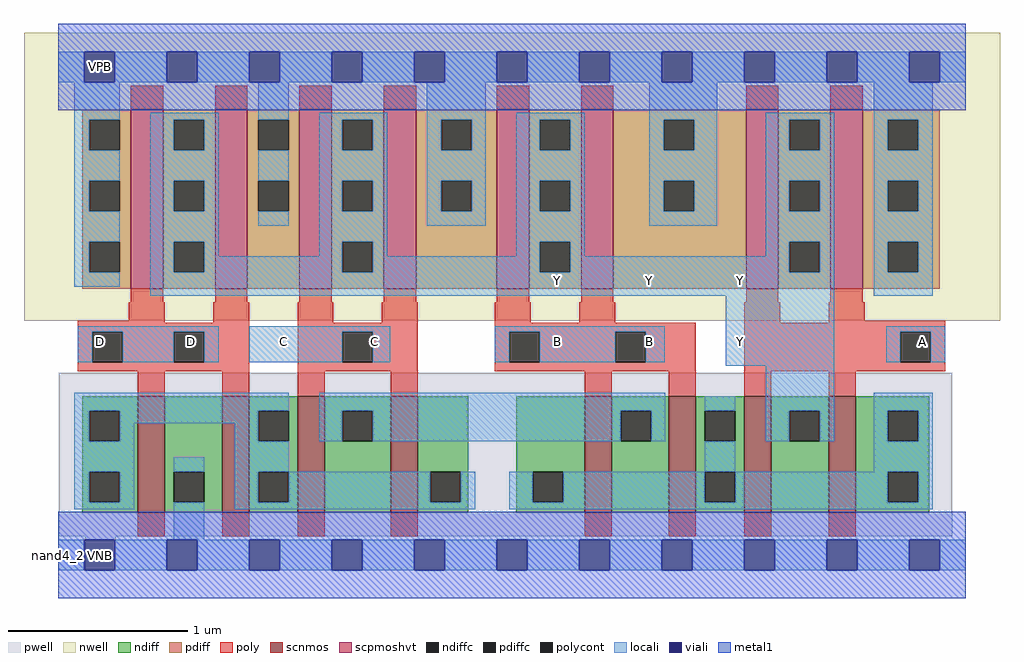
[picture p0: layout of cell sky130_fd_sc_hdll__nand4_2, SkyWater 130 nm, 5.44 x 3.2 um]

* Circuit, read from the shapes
.subckt sky130_fd_sc_hdll__nand4_2 A B C D VGND VNB VPB VPWR Y
XM1 VGND D n1 VNB sky130_fd_pr__nfet_01v8 w=0.65 l=0.15 m=2
XM2 n2 C n1 VNB sky130_fd_pr__nfet_01v8 w=0.65 l=0.15 m=2
XM3 n2 B n3 VNB sky130_fd_pr__nfet_01v8 w=0.65 l=0.15 m=2
XM4 Y A n3 VNB sky130_fd_pr__nfet_01v8 w=0.65 l=0.15 m=2
XM5 Y D VPWR VPB sky130_fd_pr__pfet_01v8_hvt w=1 l=0.18 m=2
XM6 Y C VPWR VPB sky130_fd_pr__pfet_01v8_hvt w=1 l=0.18 m=2
XM7 Y B VPWR VPB sky130_fd_pr__pfet_01v8_hvt w=1 l=0.18 m=2
XM8 Y A VPWR VPB sky130_fd_pr__pfet_01v8_hvt w=1 l=0.18 m=2
.ends

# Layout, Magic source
magic
tech sky130A
magscale 1 2
<< nwell >>
rect -38 261 1050 582
<< pwell >>
rect 1 21 997 203
rect 30 -17 64 21
<< scnmos >>
rect 89 47 119 177
rect 183 47 213 177
rect 267 47 297 177
rect 371 47 401 177
rect 587 47 617 177
rect 681 47 711 177
rect 765 47 795 177
rect 859 47 889 177
<< scpmoshvt >>
rect 81 297 117 497
rect 175 297 211 497
rect 269 297 305 497
rect 363 297 399 497
rect 489 297 525 497
rect 583 297 619 497
rect 767 297 803 497
rect 861 297 897 497
<< ndiff >>
rect 27 161 89 177
rect 27 127 35 161
rect 69 127 89 161
rect 27 93 89 127
rect 27 59 35 93
rect 69 59 89 93
rect 27 47 89 59
rect 119 93 183 177
rect 119 59 129 93
rect 163 59 183 93
rect 119 47 183 59
rect 213 161 267 177
rect 213 127 223 161
rect 257 127 267 161
rect 213 93 267 127
rect 213 59 223 93
rect 257 59 267 93
rect 213 47 267 59
rect 297 161 371 177
rect 297 127 317 161
rect 351 127 371 161
rect 297 47 371 127
rect 401 93 457 177
rect 401 59 415 93
rect 449 59 457 93
rect 401 47 457 59
rect 511 93 587 177
rect 511 59 529 93
rect 563 59 587 93
rect 511 47 587 59
rect 617 161 681 177
rect 617 127 627 161
rect 661 127 681 161
rect 617 47 681 127
rect 711 161 765 177
rect 711 127 721 161
rect 755 127 765 161
rect 711 93 765 127
rect 711 59 721 93
rect 755 59 765 93
rect 711 47 765 59
rect 795 161 859 177
rect 795 127 815 161
rect 849 127 859 161
rect 795 47 859 127
rect 889 161 971 177
rect 889 127 925 161
rect 959 127 971 161
rect 889 93 971 127
rect 889 59 925 93
rect 959 59 971 93
rect 889 47 971 59
<< pdiff >>
rect 27 485 81 497
rect 27 451 35 485
rect 69 451 81 485
rect 27 417 81 451
rect 27 383 35 417
rect 69 383 81 417
rect 27 349 81 383
rect 27 315 35 349
rect 69 315 81 349
rect 27 297 81 315
rect 117 485 175 497
rect 117 451 129 485
rect 163 451 175 485
rect 117 417 175 451
rect 117 383 129 417
rect 163 383 175 417
rect 117 349 175 383
rect 117 315 129 349
rect 163 315 175 349
rect 117 297 175 315
rect 211 485 269 497
rect 211 451 223 485
rect 257 451 269 485
rect 211 417 269 451
rect 211 383 223 417
rect 257 383 269 417
rect 211 297 269 383
rect 305 485 363 497
rect 305 451 317 485
rect 351 451 363 485
rect 305 417 363 451
rect 305 383 317 417
rect 351 383 363 417
rect 305 349 363 383
rect 305 315 317 349
rect 351 315 363 349
rect 305 297 363 315
rect 399 485 489 497
rect 399 451 427 485
rect 461 451 489 485
rect 399 417 489 451
rect 399 383 427 417
rect 461 383 489 417
rect 399 297 489 383
rect 525 485 583 497
rect 525 451 537 485
rect 571 451 583 485
rect 525 417 583 451
rect 525 383 537 417
rect 571 383 583 417
rect 525 349 583 383
rect 525 315 537 349
rect 571 315 583 349
rect 525 297 583 315
rect 619 485 767 497
rect 619 451 675 485
rect 709 451 767 485
rect 619 417 767 451
rect 619 383 675 417
rect 709 383 767 417
rect 619 297 767 383
rect 803 485 861 497
rect 803 451 815 485
rect 849 451 861 485
rect 803 417 861 451
rect 803 383 815 417
rect 849 383 861 417
rect 803 349 861 383
rect 803 315 815 349
rect 849 315 861 349
rect 803 297 861 315
rect 897 485 983 497
rect 897 451 925 485
rect 959 451 983 485
rect 897 417 983 451
rect 897 383 925 417
rect 959 383 983 417
rect 897 349 983 383
rect 897 315 925 349
rect 959 315 983 349
rect 897 297 983 315
<< ndiffc >>
rect 35 127 69 161
rect 35 59 69 93
rect 129 59 163 93
rect 223 127 257 161
rect 223 59 257 93
rect 317 127 351 161
rect 415 59 449 93
rect 529 59 563 93
rect 627 127 661 161
rect 721 127 755 161
rect 721 59 755 93
rect 815 127 849 161
rect 925 127 959 161
rect 925 59 959 93
<< pdiffc >>
rect 35 451 69 485
rect 35 383 69 417
rect 35 315 69 349
rect 129 451 163 485
rect 129 383 163 417
rect 129 315 163 349
rect 223 451 257 485
rect 223 383 257 417
rect 317 451 351 485
rect 317 383 351 417
rect 317 315 351 349
rect 427 451 461 485
rect 427 383 461 417
rect 537 451 571 485
rect 537 383 571 417
rect 537 315 571 349
rect 675 451 709 485
rect 675 383 709 417
rect 815 451 849 485
rect 815 383 849 417
rect 815 315 849 349
rect 925 451 959 485
rect 925 383 959 417
rect 925 315 959 349
<< poly >>
rect 81 497 117 523
rect 175 497 211 523
rect 269 497 305 523
rect 363 497 399 523
rect 489 497 525 523
rect 583 497 619 523
rect 767 497 803 523
rect 861 497 897 523
rect 81 282 117 297
rect 175 282 211 297
rect 269 282 305 297
rect 363 282 399 297
rect 489 282 525 297
rect 583 282 619 297
rect 767 282 803 297
rect 861 282 897 297
rect 79 261 119 282
rect 22 259 119 261
rect 173 259 213 282
rect 22 249 213 259
rect 22 215 38 249
rect 72 215 129 249
rect 163 215 213 249
rect 22 205 213 215
rect 89 177 119 205
rect 183 177 213 205
rect 267 259 307 282
rect 361 259 401 282
rect 267 249 401 259
rect 267 215 317 249
rect 351 215 401 249
rect 267 205 401 215
rect 487 259 527 282
rect 581 259 621 282
rect 765 259 805 282
rect 859 261 899 282
rect 859 259 989 261
rect 487 249 711 259
rect 487 215 503 249
rect 537 215 621 249
rect 655 215 711 249
rect 487 205 711 215
rect 267 177 297 205
rect 371 177 401 205
rect 587 177 617 205
rect 681 177 711 205
rect 765 249 989 259
rect 765 215 939 249
rect 973 215 989 249
rect 765 205 989 215
rect 765 177 795 205
rect 859 177 889 205
rect 89 21 119 47
rect 183 21 213 47
rect 267 21 297 47
rect 371 21 401 47
rect 587 21 617 47
rect 681 21 711 47
rect 765 21 795 47
rect 859 21 889 47
<< polycont >>
rect 38 215 72 249
rect 129 215 163 249
rect 317 215 351 249
rect 503 215 537 249
rect 621 215 655 249
rect 939 215 973 249
<< locali >>
rect 0 527 29 561
rect 63 527 121 561
rect 155 527 213 561
rect 247 527 305 561
rect 339 527 397 561
rect 431 527 489 561
rect 523 527 581 561
rect 615 527 673 561
rect 707 527 765 561
rect 799 527 857 561
rect 891 527 949 561
rect 983 527 1012 561
rect 18 485 69 527
rect 18 451 35 485
rect 18 417 69 451
rect 18 383 35 417
rect 18 349 69 383
rect 18 315 35 349
rect 18 299 69 315
rect 103 485 179 493
rect 103 451 129 485
rect 163 451 179 485
rect 103 417 179 451
rect 103 383 129 417
rect 163 383 179 417
rect 103 349 179 383
rect 223 485 257 527
rect 223 417 257 451
rect 223 367 257 383
rect 291 485 367 493
rect 291 451 317 485
rect 351 451 367 485
rect 291 417 367 451
rect 291 383 317 417
rect 351 383 367 417
rect 103 315 129 349
rect 163 333 179 349
rect 291 349 367 383
rect 411 485 477 527
rect 411 451 427 485
rect 461 451 477 485
rect 411 417 477 451
rect 411 383 427 417
rect 461 383 477 417
rect 411 367 477 383
rect 511 485 587 493
rect 511 451 537 485
rect 571 451 587 485
rect 511 417 587 451
rect 511 383 537 417
rect 571 383 587 417
rect 291 333 317 349
rect 163 315 317 333
rect 351 333 367 349
rect 511 349 587 383
rect 659 485 735 527
rect 659 451 675 485
rect 709 451 735 485
rect 659 417 735 451
rect 659 383 675 417
rect 709 383 735 417
rect 659 367 735 383
rect 789 485 865 493
rect 789 451 815 485
rect 849 451 865 485
rect 789 417 865 451
rect 789 383 815 417
rect 849 383 865 417
rect 511 333 537 349
rect 351 315 537 333
rect 571 333 587 349
rect 789 349 865 383
rect 789 333 815 349
rect 571 315 815 333
rect 849 315 865 349
rect 103 289 865 315
rect 909 485 975 527
rect 909 451 925 485
rect 959 451 975 485
rect 909 417 975 451
rect 909 383 925 417
rect 959 383 975 417
rect 909 349 975 383
rect 909 315 925 349
rect 959 315 975 349
rect 909 289 975 315
rect 22 249 179 255
rect 22 215 38 249
rect 72 215 129 249
rect 163 215 179 249
rect 213 249 370 255
rect 213 215 317 249
rect 351 215 370 249
rect 487 249 676 255
rect 487 215 503 249
rect 537 215 621 249
rect 655 215 676 249
rect 744 211 865 289
rect 923 249 989 255
rect 923 215 939 249
rect 973 215 989 249
rect 18 161 257 181
rect 18 127 35 161
rect 69 147 223 161
rect 69 127 85 147
rect 18 93 85 127
rect 197 127 223 147
rect 291 161 677 181
rect 291 127 317 161
rect 351 127 627 161
rect 661 127 677 161
rect 721 161 755 177
rect 789 161 865 211
rect 789 127 815 161
rect 849 127 865 161
rect 909 161 975 181
rect 909 127 925 161
rect 959 127 975 161
rect 18 59 35 93
rect 69 59 85 93
rect 18 51 85 59
rect 129 93 163 109
rect 129 17 163 59
rect 197 93 257 127
rect 721 93 755 127
rect 909 93 975 127
rect 197 59 223 93
rect 257 59 415 93
rect 449 59 465 93
rect 197 51 465 59
rect 503 59 529 93
rect 563 59 721 93
rect 755 59 925 93
rect 959 59 975 93
rect 503 51 975 59
rect 0 -17 29 17
rect 63 -17 121 17
rect 155 -17 213 17
rect 247 -17 305 17
rect 339 -17 397 17
rect 431 -17 489 17
rect 523 -17 581 17
rect 615 -17 673 17
rect 707 -17 765 17
rect 799 -17 857 17
rect 891 -17 949 17
rect 983 -17 1012 17
<< viali >>
rect 29 527 63 561
rect 121 527 155 561
rect 213 527 247 561
rect 305 527 339 561
rect 397 527 431 561
rect 489 527 523 561
rect 581 527 615 561
rect 673 527 707 561
rect 765 527 799 561
rect 857 527 891 561
rect 949 527 983 561
rect 29 -17 63 17
rect 121 -17 155 17
rect 213 -17 247 17
rect 305 -17 339 17
rect 397 -17 431 17
rect 489 -17 523 17
rect 581 -17 615 17
rect 673 -17 707 17
rect 765 -17 799 17
rect 857 -17 891 17
rect 949 -17 983 17
<< metal1 >>
rect 0 561 1012 592
rect 0 527 29 561
rect 63 527 121 561
rect 155 527 213 561
rect 247 527 305 561
rect 339 527 397 561
rect 431 527 489 561
rect 523 527 581 561
rect 615 527 673 561
rect 707 527 765 561
rect 799 527 857 561
rect 891 527 949 561
rect 983 527 1012 561
rect 0 496 1012 527
rect 0 17 1012 48
rect 0 -17 29 17
rect 63 -17 121 17
rect 155 -17 213 17
rect 247 -17 305 17
rect 339 -17 397 17
rect 431 -17 489 17
rect 523 -17 581 17
rect 615 -17 673 17
rect 707 -17 765 17
rect 799 -17 857 17
rect 891 -17 949 17
rect 983 -17 1012 17
rect 0 -48 1012 -17
<< labels >>
flabel locali s 642 221 676 255 0 FreeSans 250 0 0 0 B
port 2 nsew signal input
flabel locali s 540 221 574 255 0 FreeSans 250 0 0 0 B
port 2 nsew signal input
flabel locali s 947 221 981 255 0 FreeSans 250 0 0 0 A
port 1 nsew signal input
flabel locali s 540 289 574 323 0 FreeSans 250 0 0 0 Y
port 9 nsew signal output
flabel locali s 642 289 676 323 0 FreeSans 250 0 0 0 Y
port 9 nsew signal output
flabel locali s 744 221 778 255 0 FreeSans 250 0 0 0 Y
port 9 nsew signal output
flabel locali s 744 289 778 323 0 FreeSans 250 0 0 0 Y
port 9 nsew signal output
flabel locali s 132 221 166 255 0 FreeSans 250 0 0 0 D
port 4 nsew signal input
flabel locali s 30 221 64 255 0 FreeSans 250 0 0 0 D
port 4 nsew signal input
flabel locali s 336 221 370 255 0 FreeSans 250 0 0 0 C
port 3 nsew signal input
flabel locali s 234 221 268 255 0 FreeSans 250 0 0 0 C
port 3 nsew signal input
flabel pwell s 30 -17 64 17 0 FreeSans 200 0 0 0 VNB
port 6 nsew ground bidirectional
flabel nwell s 30 527 64 561 0 FreeSans 200 0 0 0 VPB
port 7 nsew power bidirectional
flabel metal1 s 30 -17 64 17 0 FreeSans 200 0 0 0 VGND
port 5 nsew ground bidirectional
flabel metal1 s 30 527 64 561 0 FreeSans 200 0 0 0 VPWR
port 8 nsew power bidirectional
rlabel comment s 0 0 0 0 4 nand4_2
<< properties >>
string LEFsite unithd
string LEFclass CORE
string FIXED_BBOX 0 0 1012 544
string GDS_FILE $PDKPATH/libs.ref/sky130_fd_sc_hdll/gds/sky130_fd_sc_hdll.gds
string LEFsymmetry X Y R90
string GDS_END 2263154
string GDS_START 2254266
string LEFproperties maskLayoutSubType "abstract" prCellType "standard" originalViewName "layout"
<< end >>
